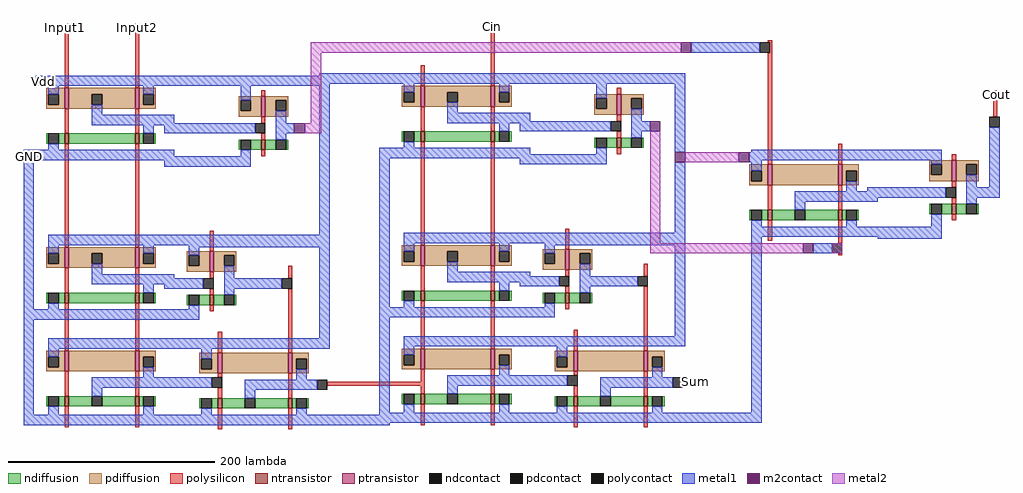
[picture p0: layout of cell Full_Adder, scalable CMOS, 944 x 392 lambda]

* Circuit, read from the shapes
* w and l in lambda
.subckt Full_Adder Cin Cout GND Input1 Input2 Sum Vdd
M1 n1 Input1 GND VSUBS nfet w=10 l=4
M2 n2 Input1 GND VSUBS nfet w=10 l=4
M3 n3 Input1 GND VSUBS nfet w=10 l=4
M4 GND Input2 n1 VSUBS nfet w=10 l=4
M5 n4 Input2 n2 VSUBS nfet w=10 l=4
M6 n5 Input2 n3 VSUBS nfet w=10 l=4
M7 n6 n4 GND VSUBS nfet w=10 l=4
M8 n7 n1 GND VSUBS nfet w=10 l=4
M9 n8 n5 GND VSUBS nfet w=10 l=4
M10 GND n6 n7 VSUBS nfet w=10 l=4
M11 n9 n7 GND VSUBS nfet w=10 l=4
M12 n10 n7 GND VSUBS nfet w=10 l=4
M13 n11 n7 GND VSUBS nfet w=10 l=4
M14 GND Cin n9 VSUBS nfet w=10 l=4
M15 n12 Cin n10 VSUBS nfet w=10 l=4
M16 n13 Cin n11 VSUBS nfet w=10 l=4
M17 n14 n12 GND VSUBS nfet w=10 l=4
M18 Sum n9 GND VSUBS nfet w=10 l=4
M19 n15 n13 GND VSUBS nfet w=10 l=4
M20 GND n14 Sum VSUBS nfet w=10 l=4
M21 n16 n8 GND VSUBS nfet w=10 l=4
M22 GND n15 n16 VSUBS nfet w=10 l=4
M23 Cout n16 GND VSUBS nfet w=10 l=4
M24 n17 Input1 Vdd NWELL pfet w=20 l=4
M25 n4 Input1 Vdd NWELL pfet w=20 l=4
M26 n5 Input1 Vdd NWELL pfet w=20 l=4
M27 n1 Input2 n17 NWELL pfet w=20 l=4
M28 Vdd Input2 n4 NWELL pfet w=20 l=4
M29 Vdd Input2 n5 NWELL pfet w=20 l=4
M30 n6 n4 Vdd NWELL pfet w=20 l=4
M31 n18 n1 Vdd NWELL pfet w=20 l=4
M32 n8 n5 Vdd NWELL pfet w=20 l=4
M33 n7 n6 n18 NWELL pfet w=20 l=4
M34 n19 n7 Vdd NWELL pfet w=20 l=4
M35 n12 n7 Vdd NWELL pfet w=20 l=4
M36 n13 n7 Vdd NWELL pfet w=20 l=4
M37 n9 Cin n19 NWELL pfet w=20 l=4
M38 Vdd Cin n12 NWELL pfet w=20 l=4
M39 Vdd Cin n13 NWELL pfet w=20 l=4
M40 n14 n12 Vdd NWELL pfet w=20 l=4
M41 n20 n9 Vdd NWELL pfet w=20 l=4
M42 n15 n13 Vdd NWELL pfet w=20 l=4
M43 Sum n14 n20 NWELL pfet w=20 l=4
M44 n21 n8 Vdd NWELL pfet w=20 l=4
M45 n16 n15 n21 NWELL pfet w=20 l=4
M46 Cout n16 Vdd NWELL pfet w=20 l=4
.ends

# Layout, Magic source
magic
tech scmos
<< polysilicon >>
rect -270 166 -266 228
rect -202 166 -198 228
rect 74 168 78 188
rect 142 168 146 228
rect 410 210 414 212
rect 412 200 414 210
rect -80 158 -76 164
rect -270 122 -266 146
rect -202 122 -198 146
rect 264 160 268 166
rect -80 132 -76 138
rect 74 124 78 148
rect 142 124 146 148
rect 264 134 268 140
rect -80 116 -76 122
rect -270 12 -266 112
rect -202 12 -198 112
rect 264 118 268 124
rect -80 100 -76 106
rect -130 8 -126 28
rect 74 14 78 114
rect 142 14 146 114
rect 264 102 268 108
rect 410 92 414 200
rect 628 138 632 164
rect 478 92 482 112
rect 588 96 592 102
rect 410 48 414 72
rect 478 48 482 72
rect 588 70 592 76
rect 588 54 592 60
rect 588 38 592 44
rect -270 -32 -266 -8
rect -202 -32 -198 -8
rect 214 10 218 30
rect 410 18 414 38
rect 478 16 482 38
rect -130 -18 -126 -12
rect -54 -18 -50 -6
rect -130 -34 -126 -28
rect -270 -88 -266 -42
rect -202 -88 -198 -42
rect -130 -50 -126 -44
rect -122 -90 -118 -70
rect -54 -90 -50 -28
rect 74 -30 78 -6
rect 142 -30 146 -6
rect 478 4 482 6
rect 214 -16 218 -10
rect 290 -16 294 -4
rect 214 -32 218 -26
rect 74 -86 78 -40
rect 142 -86 146 -40
rect 214 -48 218 -42
rect -270 -132 -266 -108
rect -202 -132 -198 -108
rect 222 -88 226 -68
rect 290 -88 294 -26
rect -122 -114 -118 -110
rect -122 -134 -118 -124
rect -54 -134 -50 -110
rect 74 -118 78 -106
rect -16 -122 78 -118
rect 74 -130 78 -122
rect 142 -130 146 -106
rect 222 -112 226 -108
rect -270 -162 -266 -142
rect -202 -162 -198 -142
rect 222 -132 226 -122
rect 290 -132 294 -108
rect 328 -120 342 -116
rect -122 -164 -118 -144
rect -54 -164 -50 -144
rect 74 -160 78 -140
rect 142 -160 146 -140
rect 222 -162 226 -142
rect 290 -162 294 -142
<< ndiffusion >>
rect -288 112 -286 122
rect -276 112 -270 122
rect -266 112 -202 122
rect -198 112 -194 122
rect -184 112 -182 122
rect -102 106 -100 116
rect -90 106 -80 116
rect -76 106 -66 116
rect -56 106 -54 116
rect 56 114 58 124
rect 68 114 74 124
rect 78 114 142 124
rect 146 114 150 124
rect 160 114 162 124
rect 242 108 244 118
rect 254 108 264 118
rect 268 108 278 118
rect 288 108 290 118
rect 392 38 394 48
rect 404 38 410 48
rect 414 38 436 48
rect 446 38 478 48
rect 482 38 486 48
rect 496 38 498 48
rect 566 44 568 54
rect 578 44 588 54
rect 592 44 602 54
rect 612 44 614 54
rect -288 -42 -286 -32
rect -276 -42 -270 -32
rect -266 -42 -202 -32
rect -198 -42 -194 -32
rect -184 -42 -182 -32
rect -152 -44 -150 -34
rect -140 -44 -130 -34
rect -126 -44 -116 -34
rect -106 -44 -104 -34
rect 56 -40 58 -30
rect 68 -40 74 -30
rect 78 -40 142 -30
rect 146 -40 150 -30
rect 160 -40 162 -30
rect 192 -42 194 -32
rect 204 -42 214 -32
rect 218 -42 228 -32
rect 238 -42 240 -32
rect -288 -142 -286 -132
rect -276 -142 -270 -132
rect -266 -142 -244 -132
rect -234 -142 -202 -132
rect -198 -142 -194 -132
rect -184 -142 -182 -132
rect -140 -144 -138 -134
rect -128 -144 -122 -134
rect -118 -144 -96 -134
rect -86 -144 -54 -134
rect -50 -144 -46 -134
rect -36 -144 -34 -134
rect 56 -140 58 -130
rect 68 -140 74 -130
rect 78 -140 100 -130
rect 110 -140 142 -130
rect 146 -140 150 -130
rect 160 -140 162 -130
rect 204 -142 206 -132
rect 216 -142 222 -132
rect 226 -142 248 -132
rect 258 -142 290 -132
rect 294 -142 298 -132
rect 308 -142 310 -132
<< pdiffusion >>
rect -288 160 -270 166
rect -288 150 -286 160
rect -276 150 -270 160
rect -288 146 -270 150
rect -266 160 -202 166
rect -266 150 -244 160
rect -234 150 -202 160
rect -266 146 -202 150
rect -198 160 -182 166
rect -198 150 -194 160
rect -184 150 -182 160
rect 56 162 74 168
rect -198 146 -182 150
rect -102 154 -80 158
rect -102 144 -100 154
rect -90 144 -80 154
rect -102 138 -80 144
rect -76 154 -54 158
rect -76 144 -66 154
rect -56 144 -54 154
rect 56 152 58 162
rect 68 152 74 162
rect 56 148 74 152
rect 78 162 142 168
rect 78 152 100 162
rect 110 152 142 162
rect 78 148 142 152
rect 146 162 162 168
rect 146 152 150 162
rect 160 152 162 162
rect 146 148 162 152
rect 242 156 264 160
rect -76 138 -54 144
rect 242 146 244 156
rect 254 146 264 156
rect 242 140 264 146
rect 268 156 290 160
rect 268 146 278 156
rect 288 146 290 156
rect 268 140 290 146
rect -288 6 -270 12
rect -288 -4 -286 6
rect -276 -4 -270 6
rect -288 -8 -270 -4
rect -266 6 -202 12
rect -266 -4 -244 6
rect -234 -4 -202 6
rect -266 -8 -202 -4
rect -198 6 -182 12
rect 566 92 588 96
rect 392 86 410 92
rect 392 76 394 86
rect 404 76 410 86
rect 392 72 410 76
rect 414 72 478 92
rect 482 86 498 92
rect 482 76 486 86
rect 496 76 498 86
rect 566 82 568 92
rect 578 82 588 92
rect 566 76 588 82
rect 592 92 614 96
rect 592 82 602 92
rect 612 82 614 92
rect 592 76 614 82
rect 482 72 498 76
rect 56 8 74 14
rect -198 -4 -194 6
rect -184 -4 -182 6
rect -198 -8 -182 -4
rect -152 4 -130 8
rect -152 -6 -150 4
rect -140 -6 -130 4
rect -152 -12 -130 -6
rect -126 4 -104 8
rect -126 -6 -116 4
rect -106 -6 -104 4
rect 56 -2 58 8
rect 68 -2 74 8
rect 56 -6 74 -2
rect 78 8 142 14
rect 78 -2 100 8
rect 110 -2 142 8
rect 78 -6 142 -2
rect 146 8 162 14
rect 146 -2 150 8
rect 160 -2 162 8
rect 146 -6 162 -2
rect 192 6 214 10
rect 192 -4 194 6
rect 204 -4 214 6
rect -126 -12 -104 -6
rect -288 -94 -270 -88
rect -288 -104 -286 -94
rect -276 -104 -270 -94
rect -288 -108 -270 -104
rect -266 -108 -202 -88
rect -198 -94 -182 -88
rect 192 -10 214 -4
rect 218 6 240 10
rect 218 -4 228 6
rect 238 -4 240 6
rect 218 -10 240 -4
rect -198 -104 -194 -94
rect -184 -104 -182 -94
rect -198 -108 -182 -104
rect -140 -96 -122 -90
rect -140 -106 -138 -96
rect -128 -106 -122 -96
rect -140 -110 -122 -106
rect -118 -110 -54 -90
rect -50 -96 -34 -90
rect -50 -106 -46 -96
rect -36 -106 -34 -96
rect 56 -92 74 -86
rect 56 -102 58 -92
rect 68 -102 74 -92
rect 56 -106 74 -102
rect 78 -106 142 -86
rect 146 -92 162 -86
rect 146 -102 150 -92
rect 160 -102 162 -92
rect 146 -106 162 -102
rect 204 -94 222 -88
rect 204 -104 206 -94
rect 216 -104 222 -94
rect -50 -110 -34 -106
rect 204 -108 222 -104
rect 226 -108 290 -88
rect 294 -94 310 -88
rect 294 -104 298 -94
rect 308 -104 310 -94
rect 294 -108 310 -104
<< metal1 >>
rect 336 200 402 210
rect -24 178 330 180
rect -298 170 330 178
rect -298 168 -14 170
rect -286 160 -276 168
rect -194 160 -184 168
rect -100 154 -90 168
rect -244 140 -234 150
rect -244 132 -164 140
rect -66 132 -56 144
rect -244 130 -86 132
rect -194 122 -184 130
rect -174 122 -86 130
rect -66 122 -48 132
rect -66 116 -56 122
rect -286 106 -276 112
rect -310 100 -164 106
rect -100 100 -90 106
rect -310 96 -90 100
rect -310 -48 -300 96
rect -174 90 -90 96
rect -24 24 -14 168
rect 58 162 68 170
rect 150 162 160 170
rect 244 156 254 170
rect 100 142 110 152
rect 100 134 180 142
rect 278 134 288 146
rect 100 132 258 134
rect 150 124 160 132
rect 170 124 258 132
rect 278 124 296 134
rect 278 118 288 124
rect 58 108 68 114
rect -286 14 -14 24
rect -286 6 -276 14
rect -194 6 -184 14
rect -150 12 -14 14
rect -150 4 -140 12
rect -244 -14 -234 -4
rect -244 -18 -164 -14
rect -116 -18 -106 -6
rect -244 -24 -136 -18
rect -194 -32 -184 -24
rect -174 -28 -136 -24
rect -116 -28 -60 -18
rect -116 -34 -106 -28
rect -286 -48 -276 -42
rect -150 -48 -140 -44
rect -310 -58 -140 -48
rect -310 -150 -300 -58
rect -24 -76 -14 12
rect -286 -86 -14 -76
rect 34 102 180 108
rect 244 102 254 108
rect 34 98 254 102
rect 34 -46 44 98
rect 170 92 254 98
rect 320 104 330 170
rect 394 104 578 106
rect 392 96 578 104
rect 392 94 404 96
rect 320 26 330 94
rect 394 86 404 94
rect 568 92 578 96
rect 486 66 496 76
rect 602 70 612 82
rect 624 70 634 128
rect 506 66 582 70
rect 436 60 582 66
rect 602 60 634 70
rect 436 56 516 60
rect 436 48 446 56
rect 602 54 612 60
rect 58 16 330 26
rect 58 8 68 16
rect 150 8 160 16
rect 194 14 330 16
rect 194 6 204 14
rect 100 -12 110 -2
rect 100 -16 180 -12
rect 228 -16 238 -4
rect 100 -22 208 -16
rect 150 -30 160 -22
rect 170 -26 208 -22
rect 228 -26 284 -16
rect 228 -32 238 -26
rect 58 -46 68 -40
rect 194 -46 204 -42
rect 34 -56 204 -46
rect -286 -94 -276 -86
rect -194 -114 -184 -104
rect -138 -96 -128 -86
rect -244 -124 -128 -114
rect -46 -116 -36 -106
rect -244 -132 -234 -124
rect -96 -126 -26 -116
rect -96 -134 -86 -126
rect -286 -150 -276 -142
rect -194 -150 -184 -142
rect -138 -150 -128 -144
rect -46 -150 -36 -144
rect 34 -148 44 -56
rect 320 -74 330 14
rect 58 -84 330 -74
rect 394 32 404 38
rect 486 32 496 38
rect 568 32 578 44
rect 394 22 578 32
rect 58 -92 68 -84
rect 150 -112 160 -102
rect 206 -94 216 -84
rect 100 -122 216 -112
rect 298 -114 308 -104
rect 100 -130 110 -122
rect 248 -124 318 -114
rect 248 -132 258 -124
rect 58 -148 68 -140
rect 150 -148 160 -140
rect 206 -148 216 -142
rect 298 -148 308 -142
rect 394 -148 404 22
rect 516 20 578 22
rect 454 6 472 16
rect 34 -150 404 -148
rect -310 -158 404 -150
rect -310 -160 44 -158
<< metal2 >>
rect -32 200 326 210
rect -32 132 -22 200
rect -38 122 -22 132
rect 296 16 306 124
rect 330 94 382 104
rect 296 6 444 16
rect 472 6 482 16
<< ntransistor >>
rect -270 112 -266 122
rect -202 112 -198 122
rect -80 106 -76 116
rect 74 114 78 124
rect 142 114 146 124
rect 264 108 268 118
rect 410 38 414 48
rect 478 38 482 48
rect 588 44 592 54
rect -270 -42 -266 -32
rect -202 -42 -198 -32
rect -130 -44 -126 -34
rect 74 -40 78 -30
rect 142 -40 146 -30
rect 214 -42 218 -32
rect -270 -142 -266 -132
rect -202 -142 -198 -132
rect -122 -144 -118 -134
rect -54 -144 -50 -134
rect 74 -140 78 -130
rect 142 -140 146 -130
rect 222 -142 226 -132
rect 290 -142 294 -132
<< ptransistor >>
rect -270 146 -266 166
rect -202 146 -198 166
rect -80 138 -76 158
rect 74 148 78 168
rect 142 148 146 168
rect 264 140 268 160
rect -270 -8 -266 12
rect -202 -8 -198 12
rect 410 72 414 92
rect 478 72 482 92
rect 588 76 592 96
rect -130 -12 -126 8
rect 74 -6 78 14
rect 142 -6 146 14
rect -270 -108 -266 -88
rect -202 -108 -198 -88
rect 214 -10 218 10
rect -122 -110 -118 -90
rect -54 -110 -50 -90
rect 74 -106 78 -86
rect 142 -106 146 -86
rect 222 -108 226 -88
rect 290 -108 294 -88
<< polycontact >>
rect 402 200 412 210
rect -86 122 -76 132
rect 258 124 268 134
rect 624 128 634 138
rect 582 60 592 70
rect -136 -28 -126 -18
rect -60 -28 -50 -18
rect 472 6 482 16
rect 208 -26 218 -16
rect 284 -26 294 -16
rect -128 -124 -118 -114
rect -26 -126 -16 -116
rect 216 -122 226 -112
rect 318 -124 328 -114
<< ndcontact >>
rect -286 112 -276 122
rect -194 112 -184 122
rect -100 106 -90 116
rect -66 106 -56 116
rect 58 114 68 124
rect 150 114 160 124
rect 244 108 254 118
rect 278 108 288 118
rect 394 38 404 48
rect 436 38 446 48
rect 486 38 496 48
rect 568 44 578 54
rect 602 44 612 54
rect -286 -42 -276 -32
rect -194 -42 -184 -32
rect -150 -44 -140 -34
rect -116 -44 -106 -34
rect 58 -40 68 -30
rect 150 -40 160 -30
rect 194 -42 204 -32
rect 228 -42 238 -32
rect -286 -142 -276 -132
rect -244 -142 -234 -132
rect -194 -142 -184 -132
rect -138 -144 -128 -134
rect -96 -144 -86 -134
rect -46 -144 -36 -134
rect 58 -140 68 -130
rect 100 -140 110 -130
rect 150 -140 160 -130
rect 206 -142 216 -132
rect 248 -142 258 -132
rect 298 -142 308 -132
<< pdcontact >>
rect -286 150 -276 160
rect -244 150 -234 160
rect -194 150 -184 160
rect -100 144 -90 154
rect -66 144 -56 154
rect 58 152 68 162
rect 100 152 110 162
rect 150 152 160 162
rect 244 146 254 156
rect 278 146 288 156
rect -286 -4 -276 6
rect -244 -4 -234 6
rect 394 76 404 86
rect 486 76 496 86
rect 568 82 578 92
rect 602 82 612 92
rect -194 -4 -184 6
rect -150 -6 -140 4
rect -116 -6 -106 4
rect 58 -2 68 8
rect 100 -2 110 8
rect 150 -2 160 8
rect 194 -4 204 6
rect -286 -104 -276 -94
rect 228 -4 238 6
rect -194 -104 -184 -94
rect -138 -106 -128 -96
rect -46 -106 -36 -96
rect 58 -102 68 -92
rect 150 -102 160 -92
rect 206 -104 216 -94
rect 298 -104 308 -94
<< m2contact >>
rect 326 200 336 210
rect -48 122 -38 132
rect 296 124 306 134
rect 320 94 330 104
rect 382 94 392 104
rect 444 6 454 16
<< labels >>
rlabel metal1 -291 172 -291 172 1 Vdd
rlabel metal1 -304 100 -304 100 1 GND
rlabel polysilicon 144 225 144 225 5 Cin
rlabel polysilicon 631 160 631 160 7 Cout
rlabel polysilicon -269 224 -269 224 5 Input1
rlabel polysilicon -200 224 -200 224 5 Input2
rlabel polysilicon 340 -118 340 -118 1 Sum
<< end >>
